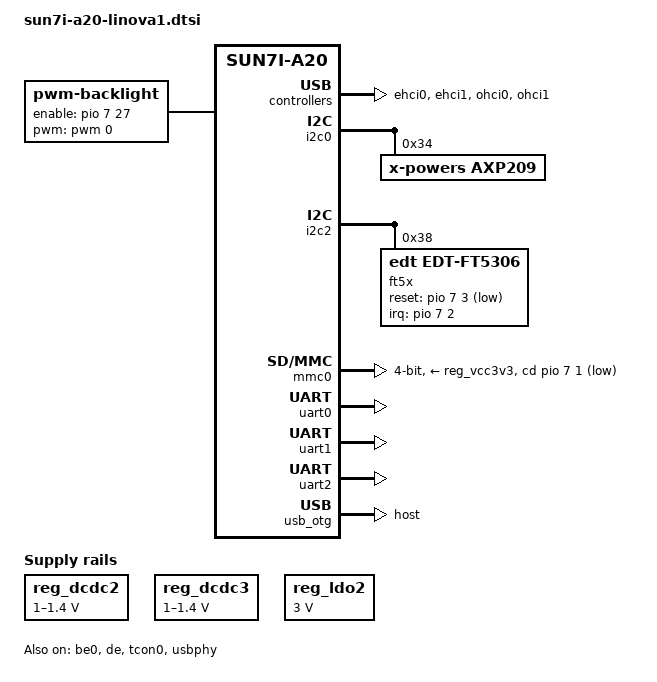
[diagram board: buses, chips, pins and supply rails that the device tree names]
// SPDX-License-Identifier: (GPL-2.0+ OR MIT)
/*
 * Device Tree Source base for LiNova HMI
 *
 * Copyright (C) 2018 Micronova srl
 *   Author: Giulio Benetti <giulio.benetti@micronovasrl.com>
 */

/dts-v1/;
#include "sun7i-a20.dtsi"
#include "sunxi-common-regulators.dtsi"

#include <dt-bindings/gpio/gpio.h>
#include <dt-bindings/interrupt-controller/irq.h>
#include <dt-bindings/pwm/pwm.h>

/ {
	aliases {
		serial0 = &uart0;
	};
	
	backlight {
		compatible = "pwm-backlight";
		pwms = <&pwm 0 50000 PWM_POLARITY_INVERTED>;
		brightness-levels = <0 10 20 30 40 50 60 70 80 90 100>;
		default-brightness-level = <8>;
		pinctrl-names = "default";
		pinctrl-0 = <&bl_enable_pin>;
		enable-gpios = <&pio 7 27 GPIO_ACTIVE_HIGH>; /* PH27 */
	};

	chosen {
		stdout-path = "serial0:115200n8";
	};
};

&be0 {
	status = "okay";
};

&de {
	status = "okay";
};

&ehci0 {
	status = "okay";
};

&ehci1 {
	status = "okay";
};

&i2c0 {
	pinctrl-names = "default";
	pinctrl-0 = <&i2c0_pins_a>;
	status = "okay";

	axp209: pmic@34 {
		compatible = "x-powers,axp209";
		reg = <0x34>;
		interrupt-parent = <&nmi_intc>;
		interrupts = <0 IRQ_TYPE_LEVEL_LOW>;

		interrupt-controller;
		#interrupt-cells = <1>;
	};
};

&i2c2 {
	pinctrl-names = "default";
	pinctrl-0 = <&i2c2_pins_a>;
	status = "okay";

	ft5x: touchscreen@38 {
		compatible = "edt,edt-ft5306";
		reg = <0x38>;
		interrupt-parent = <&pio>;
		interrupts = <7 2 IRQ_TYPE_EDGE_FALLING>; /* PH2 */
		reset-gpios = <&pio 7 3 GPIO_ACTIVE_LOW>; /* PH3 */
	};
};

&mmc0 {
	pinctrl-names = "default";
	pinctrl-0 = <&mmc0_pins_a>;
	vmmc-supply = <&reg_vcc3v3>;
	bus-width = <4>;
	cd-gpios = <&pio 7 1 GPIO_ACTIVE_HIGH>; /* PH1 */
	cd-inverted;
	status = "okay";
};

&ohci0 {
	status = "okay";
};

&ohci1 {
	status = "okay";
};

&otg_sram {
	status = "okay";
};

&pio {
	bl_enable_pin: bl_enable_pin {
		pins = "PH27";
		function = "gpio_out";
	};
};

#include "axp209.dtsi"

&ac_power_supply {
	status = "okay";
};

&battery_power_supply {
	status = "okay";
};

&reg_dcdc2 {
	regulator-always-on;
	regulator-min-microvolt = <1000000>;
	regulator-max-microvolt = <1400000>;
	regulator-name = "vdd-cpu";
};

&reg_dcdc3 {
	regulator-always-on;
	regulator-min-microvolt = <1000000>;
	regulator-max-microvolt = <1400000>;
	regulator-name = "vdd-int-dll";
};

&reg_ldo2 {
	regulator-always-on;
	regulator-min-microvolt = <3000000>;
	regulator-max-microvolt = <3000000>;
	regulator-name = "avcc";
};

&reg_usb0_vbus {
	status = "okay";
};

&reg_usb1_vbus {
	status = "okay";
};

&tcon0 {
	pinctrl-names = "default";
	pinctrl-0 = <&lcd0_rgb888_pins>;
	status = "okay";
};

&tcon0_out {
	tcon0_out_panel: endpoint@0 {
		reg = <0>;
		remote-endpoint = <&panel_input>;
	};
};

&uart0 {
	pinctrl-names = "default";
	pinctrl-0 = <&uart0_pins_a>;
	status = "okay";
};

&uart1 {
	pinctrl-names = "default";
	pinctrl-0 = <&uart1_pins_a>;
	status = "okay";
};

&uart2 {
	pinctrl-names = "default";
	pinctrl-0 = <&uart1_pins_a>;
	status = "okay";
};

&usb_otg {
	dr_mode = "host";
	status = "okay";
};

&usbphy {
	pinctrl-names = "default";
	usb0_vbus-supply = <&reg_usb0_vbus>;
	usb1_vbus-supply = <&reg_usb1_vbus>;
	status = "okay";
};
